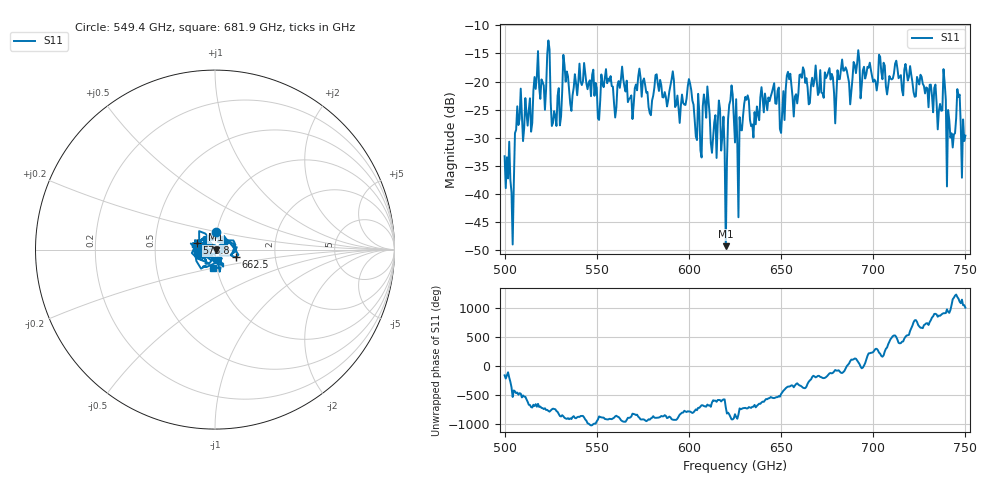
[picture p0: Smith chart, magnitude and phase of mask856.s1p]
!Created with skrf (http://scikit-rf.org).
# GHz S MA R 50.0
!freq magS11 angS11
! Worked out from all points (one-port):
!   401 points, 500 GHz to 750 GHz, reference 50 ohm
!   lowest |S11| = -49.3 dB at 620 GHz (marker M1), VSWR 1.01, Z = 50.3 + j0.0419 ohm
!   |S11| at or under -10 dB: start of sweep to end of sweep
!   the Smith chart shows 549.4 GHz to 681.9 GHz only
!   S11 on the Smith chart (normalised r, x): 549.4 GHz: 0.99, +0.19; 573.8 GHz: 0.81, +0.06; 662.5 GHz: 1.26, -0.11; 681.9 GHz: 0.96, -0.20
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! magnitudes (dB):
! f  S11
! 500 GHz  -33.3
! 504.4 GHz  -49.0
! 507.5 GHz  -27.7
! 513.8 GHz  -23.0
! 516.9 GHz  -21.3
! 523.8 GHz  -12.7
! 526.9 GHz  -25.3
! 531.2 GHz  -21.8
! 549.4 GHz  -20.2
! 562.5 GHz  -21.1
! 568.8 GHz  -22.5
! 573.8 GHz  -19.3
! 593.8 GHz  -22.5
! 600.6 GHz  -20.4
! 605.6 GHz  -25.5
! 609.4 GHz  -26.4
! 620 GHz  -49.3
! 622.5 GHz  -23.4
! 625 GHz  -30.8
! 627.5 GHz  -26.3
! 631.2 GHz  -23.3
! 635 GHz  -30.0
! 656.2 GHz  -22.8
! 662.5 GHz  -18.0
! 681.9 GHz  -19.6
! 687.5 GHz  -24.1
! 718.8 GHz  -19.8
! 750 GHz  -29.6
